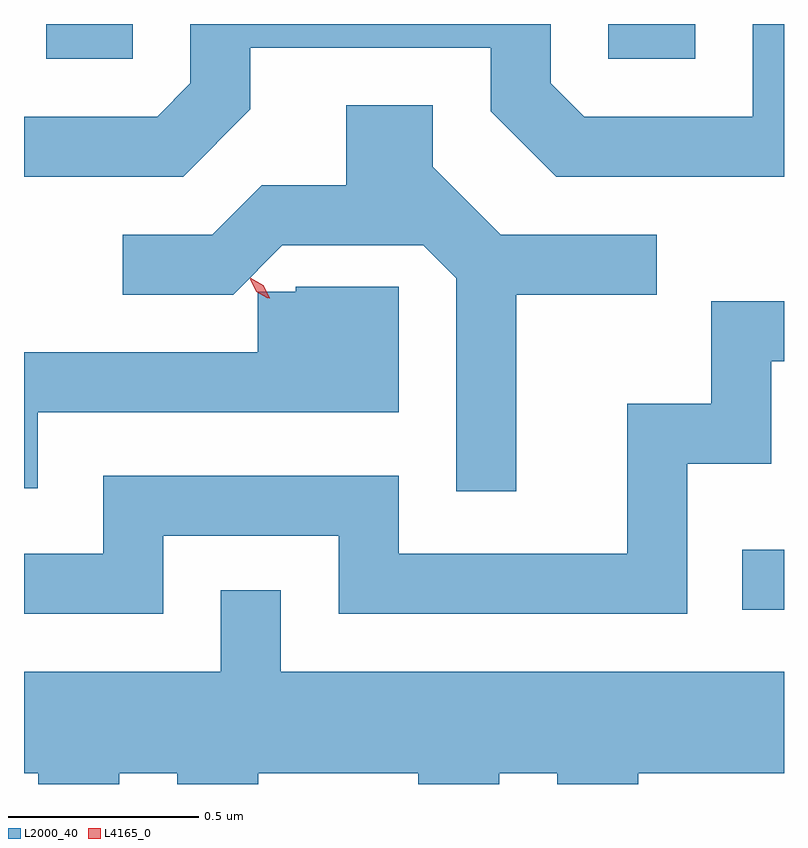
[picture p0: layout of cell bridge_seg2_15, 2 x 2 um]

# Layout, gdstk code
import gdstk
lib = gdstk.Library(unit=1e-6, precision=1e-09)
def R(c, l, rs):  # rectangles x0, y0, x1, y1
    for r in rs: c.add(gdstk.rectangle(r[:2], r[2:], *l))
def P(c, l, *ps):  # polygons
    for p in ps: c.add(gdstk.Polygon(p, *l))
L2000_40 = (2000, 40)
L4165_0 = (4165, 0)

bridge_seg2_15 = lib.new_cell('bridge_seg2_15')
R(bridge_seg2_15, L2000_40, [(1908.913,1073.166,1909.023,1073.324), (1907.081,1074.616,1907.309,1074.708), (1908.561,1074.616,1908.789,1074.708)])
P(bridge_seg2_15, L2000_40, [(1907.619,1074.484),(1907.619,1074.646),(1908.251,1074.646),(1908.251,1074.479),(1908.424,1074.306),(1909.023,1074.306),(1909.023,1074.708),(1908.941,1074.708),(1908.941,1074.464),(1908.497,1074.464),(1908.409,1074.552),(1908.409,1074.708),(1907.461,1074.708),(1907.461,1074.552),(1907.374,1074.464),(1907.023,1074.464),(1907.023,1074.306),(1907.442,1074.306)],
  [(1908.319,1073.996),(1908.688,1073.996),(1908.688,1074.154),(1908.277,1074.154),(1908.099,1074.332),(1908.099,1074.494),(1907.871,1074.494),(1907.871,1074.284),(1907.649,1074.284),(1907.519,1074.154),(1907.283,1074.154),(1907.283,1073.996),(1907.573,1073.996),(1907.703,1074.126),(1908.074,1074.126),(1908.161,1074.039),(1908.161,1073.478),(1908.319,1073.478)],
  [(1907.059,1073.686),(1908.009,1073.686),(1908.009,1074.017),(1907.738,1074.017),(1907.738,1074.004),(1907.638,1074.004),(1907.638,1073.844),(1907.023,1073.844),(1907.023,1073.486),(1907.059,1073.486)],
  [(1907.389,1073.361),(1907.851,1073.361),(1907.851,1073.156),(1908.769,1073.156),(1908.769,1073.551),(1908.989,1073.551),(1908.989,1073.821),(1909.023,1073.821),(1909.023,1073.979),(1908.831,1073.979),(1908.831,1073.709),(1908.611,1073.709),(1908.611,1073.314),(1908.009,1073.314),(1908.009,1073.519),(1907.231,1073.519),(1907.231,1073.314),(1907.023,1073.314),(1907.023,1073.156),(1907.389,1073.156)],
  [(1907.274,1072.736),(1907.426,1072.736),(1907.426,1072.708),(1907.639,1072.708),(1907.639,1072.736),(1908.061,1072.736),(1908.061,1072.708),(1908.274,1072.708),(1908.274,1072.736),(1908.426,1072.736),(1908.426,1072.708),(1908.639,1072.708),(1908.639,1072.736),(1909.023,1072.736),(1909.023,1073.004),(1907.699,1073.004),(1907.699,1073.218),(1907.541,1073.218),(1907.541,1073.004),(1907.023,1073.004),(1907.023,1072.736),(1907.061,1072.736),(1907.061,1072.708),(1907.274,1072.708)])
P(bridge_seg2_15, L4165_0, [(1907.669,1073.986),(1907.637,1074.006),(1907.619,1074.039),(1907.619,1074.04),(1907.619,1074.04),(1907.652,1074.02),(1907.67,1073.987),(1907.67,1073.986)],
  [(1907.664,1073.986),(1907.634,1074.004),(1907.619,1074.035),(1907.619,1074.036),(1907.619,1074.036),(1907.649,1074.018),(1907.664,1073.987),(1907.664,1073.986)])

lib.write_gds('bridge_seg2_15.gds')
